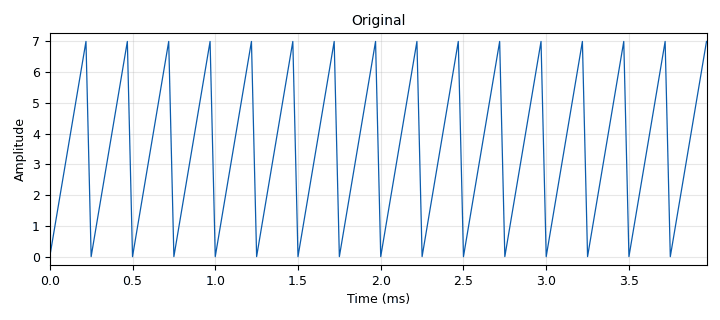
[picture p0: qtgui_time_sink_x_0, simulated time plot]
<?xml version='1.0' encoding='utf-8'?>
<?grc format='1' created='3.7.10'?>
<flow_graph>
<block>
<key>options</key>
<param><key>id</key><value>vec_resize_test</value></param>
<param><key>author</key><value>Michael Rahaim</value></param>
<param><key>category</key><value>Custom</value></param>
<param><key>generate_options</key><value>qt_gui</value></param>
<param><key>title</key><value>Test the vector resize block</value></param>
</block>
<block>
<key>variable</key>
<param><key>id</key><value>in_len</value></param>
<param><key>value</key><value>8</value></param>
</block>
<block>
<key>variable</key>
<param><key>id</key><value>out_len</value></param>
<param><key>value</key><value>6</value></param>
</block>
<block>
<key>variable</key>
<param><key>id</key><value>samp_rate</value></param>
<param><key>value</key><value>32000</value></param>
</block>
<block>
<key>blocks_stream_to_vector</key>
<param><key>id</key><value>blocks_stream_to_vector_0</value></param>
<param><key>type</key><value>float</value></param>
<param><key>num_items</key><value>in_len</value></param>
</block>
<block>
<key>blocks_throttle</key>
<param><key>id</key><value>blocks_throttle_0</value></param>
<param><key>samples_per_second</key><value>samp_rate</value></param>
<param><key>type</key><value>float</value></param>
</block>
<block>
<key>blocks_vector_source_x</key>
<param><key>id</key><value>blocks_vector_source_x_0</value></param>
<param><key>type</key><value>float</value></param>
<param><key>repeat</key><value>True</value></param>
<param><key>vector</key><value>range(0,in_len)</value></param>
</block>
<block>
<key>blocks_vector_to_stream</key>
<param><key>id</key><value>blocks_vector_to_stream_0</value></param>
<param><key>type</key><value>float</value></param>
<param><key>num_items</key><value>out_len</value></param>
</block>
<block>
<key>qtgui_time_sink_x</key>
<param><key>id</key><value>qtgui_time_sink_x_0</value></param>
<param><key>color1</key><value>"blue"</value></param>
<param><key>label1</key><value></value></param>
<param><key>name</key><value>"Original"</value></param>
<param><key>size</key><value>128</value></param>
<param><key>srate</key><value>samp_rate</value></param>
<param><key>type</key><value>float</value></param>
<param><key>ymax</key><value>in_len-1</value></param>
<param><key>ymin</key><value>0</value></param>
</block>
<block>
<key>qtgui_time_sink_x</key>
<param><key>id</key><value>qtgui_time_sink_x_0_0</value></param>
<param><key>color1</key><value>"blue"</value></param>
<param><key>label1</key><value></value></param>
<param><key>name</key><value>"Updated"</value></param>
<param><key>size</key><value>128*out_len/in_len</value></param>
<param><key>srate</key><value>samp_rate*out_len/in_len</value></param>
<param><key>type</key><value>float</value></param>
<param><key>ymax</key><value>in_len-1</value></param>
<param><key>ymin</key><value>0</value></param>
</block>
<block>
<key>testblocks_vec_resize</key>
<param><key>id</key><value>testblocks_vec_resize_0</value></param>
<param><key>in_len</key><value>in_len</value></param>
<param><key>out_len</key><value>out_len</value></param>
</block>
<connection><source_block_id>blocks_stream_to_vector_0</source_block_id><sink_block_id>testblocks_vec_resize_0</sink_block_id><source_key>0</source_key><sink_key>0</sink_key></connection>
<connection><source_block_id>blocks_throttle_0</source_block_id><sink_block_id>qtgui_time_sink_x_0</sink_block_id><source_key>0</source_key><sink_key>0</sink_key></connection>
<connection><source_block_id>blocks_vector_source_x_0</source_block_id><sink_block_id>blocks_stream_to_vector_0</sink_block_id><source_key>0</source_key><sink_key>0</sink_key></connection>
<connection><source_block_id>blocks_vector_source_x_0</source_block_id><sink_block_id>blocks_throttle_0</sink_block_id><source_key>0</source_key><sink_key>0</sink_key></connection>
<connection><source_block_id>blocks_vector_to_stream_0</source_block_id><sink_block_id>qtgui_time_sink_x_0_0</sink_block_id><source_key>0</source_key><sink_key>0</sink_key></connection>
<connection><source_block_id>testblocks_vec_resize_0</source_block_id><sink_block_id>blocks_vector_to_stream_0</sink_block_id><source_key>0</source_key><sink_key>0</sink_key></connection>
</flow_graph>
